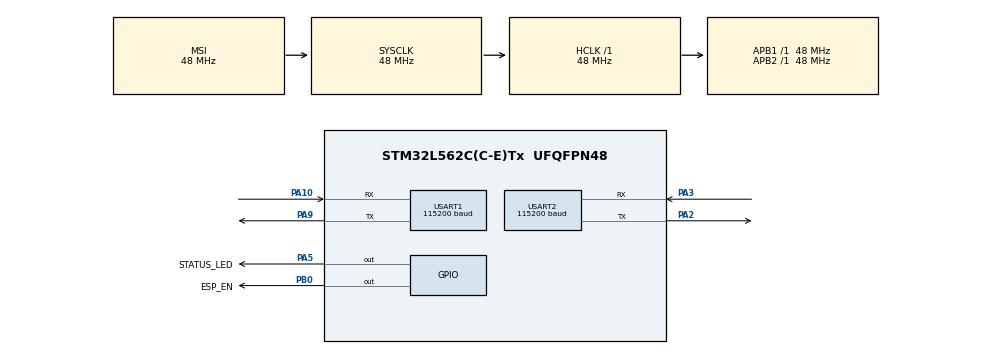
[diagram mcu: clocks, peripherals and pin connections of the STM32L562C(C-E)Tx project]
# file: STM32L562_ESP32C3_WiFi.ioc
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ICACHE.associativity_mode=ICACHE_1WAY
Mcu.Family=STM32L5
Mcu.Name=STM32L562C(C-E)Tx
Mcu.Package=UFQFPN48
Mcu.PinNb=10
NVIC.PriorityGroup=NVIC_PRIORITYGROUP_4
PA10.Mode=Asynchronous
PA10.Signal=USART1_RX
PA13\ (JTMS/SWDIO).Mode=Serial_Wire
PA13\ (JTMS/SWDIO).Signal=DEBUG_JTMS-SWDIO
PA14\ (JTCK/SWCLK).Mode=Serial_Wire
PA14\ (JTCK/SWCLK).Signal=DEBUG_JTCK-SWCLK
PA2.Mode=Asynchronous
PA2.Signal=USART2_TX
PA3.Mode=Asynchronous
PA3.Signal=USART2_RX
PA5.GPIO_Label=STATUS_LED
PA5.Signal=GPIO_Output
PA9.Mode=Asynchronous
PA9.Signal=USART1_TX
PB0.GPIO_Label=ESP_EN
PB0.PinState=GPIO_PIN_SET
PB0.Signal=GPIO_Output
ProjectManager.HeapSize=0x400
ProjectManager.StackSize=0x800
ProjectManager.TargetToolchain=STM32CubeIDE
RCC.ADCFreq_Value=16000000
RCC.AHBFreq_Value=48000000
RCC.APB1Freq_Value=48000000
RCC.APB1TimFreq_Value=48000000
RCC.APB2Freq_Value=48000000
RCC.APB2TimFreq_Value=48000000
RCC.CortexFreq_Value=48000000
RCC.HCLKFreq_Value=48000000
RCC.HSI_VALUE=16000000
RCC.MSIClockRange=RCC_MSIRANGE_11
RCC.MSI_VALUE=48000000
RCC.SYSCLKFreq_VALUE=48000000
RCC.SYSCLKSource=RCC_SYSCLKSOURCE_MSI
RCC.USART1CLockSelection=RCC_USART1CLKSOURCE_HSI
RCC.USART2CLockSelection=RCC_USART2CLKSOURCE_HSI
USART1.BaudRate=115200
USART1.FIFOMode=FIFOMODE_ENABLE
USART1.VirtualMode-Asynchronous=VM_ASYNC
USART2.BaudRate=115200
USART2.VirtualMode-Asynchronous=VM_ASYNC
VP_ICACHE_VS_ICACHE.Mode=DefaultMode
board=custom

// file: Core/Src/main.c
/* USER CODE BEGIN Header */
/**
  ******************************************************************************
  * @file           : main.c
  * @brief          : STM32L562CET6 + ESP32-C3-WROOM (ESP-AT) Wi-Fi 클라이언트
  *
  *  - USART1(PA9/PA10) 로 ESP32-C3 에 AT 명령을 보내고 응답을 폴링으로 받는다.
  *  - 부팅 시 ESP32 를 하드웨어 리셋 → 초기화 → MAC 주소 읽기 → AP 접속
  *    (DHCP 또는 고정 IP) → TCP 서버 접속 순서로 진행한다.
  *  - AP 또는 서버가 끊기면 wifi_mgr.c 의 상태 머신이 자동으로 재접속한다.
  *  - 접속 중에는 APP_TX_PERIOD_MS 마다 서버에 문자열을 보내고, 서버에서
  *    받은 데이터는 USART2 디버그 포트로 찍는다.
  *
  *  인터럽트는 SysTick(HAL 1ms 틱) 만 사용한다.
  ******************************************************************************
  */
/* USER CODE END Header */

#include "main.h"

/* USER CODE BEGIN Includes */
#include "debug_log.h"
#include "esp32_at.h"
#include "wifi_mgr.h"
#include <stdio.h>
#include <string.h>
/* USER CODE END Includes */

void SystemClock_Config(void);
static void MX_GPIO_Init(void);
static void MX_ICACHE_Init(void);
static void MX_USART1_UART_Init(void);
static void MX_USART2_UART_Init(void);

/* USER CODE BEGIN PFP */
static void App_Task(void);
static void Led_Task(void);
/* USER CODE END PFP */

/* USER CODE BEGIN 0 */

/**
  * @brief  데모 애플리케이션: 주기 송신 + 수신 데이터 출력
  */
static void App_Task(void)
{
#if (APP_TX_PERIOD_MS > 0U)
  static uint32_t last_tx   = 0U;
  static uint32_t tx_count  = 0U;
#endif
  uint8_t  rx[128];
  uint16_t n;

  /* 서버에서 온 데이터 → 디버그 포트로 출력 */
  n = WIFI_Receive(rx, (uint16_t)(sizeof(rx) - 1U));
  if (n > 0U)
  {
    rx[n] = '\0';
    LOG("APP: rx %u bytes: %s", (unsigned)n, (const char *)rx);
  }

#if (APP_TX_PERIOD_MS > 0U)
  if (WIFI_IsOnline() && ((HAL_GetTick() - last_tx) >= APP_TX_PERIOD_MS))
  {
    char msg[96];
    int  len;

    last_tx = HAL_GetTick();
    len = snprintf(msg, sizeof(msg), "STM32L562 #%lu mac=%s ip=%s\r\n",
                   (unsigned long)++tx_count, WIFI_GetMac(), WIFI_GetIp());
    if (len > 0)
    {
      if (WIFI_Send((const uint8_t *)msg, (uint16_t)len))
      {
        LOG("APP: tx #%lu ok", (unsigned long)tx_count);
      }
      else
      {
        LOG("APP: tx #%lu failed", (unsigned long)tx_count);
      }
    }
  }
#endif
}

/**
  * @brief  상태 LED
  *           RESET / INIT      : 빠르게 (100ms)
  *           AP / SERVER 접속중: 중간   (250ms)
  *           WAIT (재시도 대기) : 느리게 (1s)
  *           ONLINE            : 켜짐 (2초마다 짧게 깜빡)
  */
static void Led_Task(void)
{
  static uint32_t last = 0U;
  static bool     on   = false;
  uint32_t        now  = HAL_GetTick();
  uint32_t        period;

  switch (WIFI_GetState())
  {
    case WIFI_STATE_RESET:
    case WIFI_STATE_INIT:           period = 100U;  break;
    case WIFI_STATE_AP_CONNECT:
    case WIFI_STATE_SERVER_CONNECT: period = 250U;  break;
    case WIFI_STATE_WAIT:           period = 1000U; break;
    case WIFI_STATE_ONLINE:
    default:
      /* 켜져 있다가 2초마다 50ms 꺼짐 */
      period = on ? 2000U : 50U;
      break;
  }

  if ((now - last) >= period)
  {
    last = now;
    on   = !on;
#if (STATUS_LED_ACTIVE_HIGH == 1U)
    HAL_GPIO_WritePin(STATUS_LED_GPIO_PORT, STATUS_LED_PIN, on ? GPIO_PIN_SET : GPIO_PIN_RESET);
#else
    HAL_GPIO_WritePin(STATUS_LED_GPIO_PORT, STATUS_LED_PIN, on ? GPIO_PIN_RESET : GPIO_PIN_SET);
#endif
  }
}
/* USER CODE END 0 */

int main(void)
{

  /* MCU Configuration--------------------------------------------------------*/

  /* Reset of all peripherals, Initializes the Flash interface and the Systick. */
  HAL_Init();

  /* Configure the system clock */
  SystemClock_Config();

  /* Initialize all configured peripherals */
  MX_GPIO_Init();
  MX_ICACHE_Init();
  MX_USART2_UART_Init();
  MX_USART1_UART_Init();

  /* USER CODE BEGIN 2 */
  LOG("");
  LOG("=== STM32L562CET6 + ESP32-C3 AT Wi-Fi client ===");
  LOG("SYSCLK=%lu Hz", (unsigned long)HAL_RCC_GetSysClockFreq());

  /* 기본 설정(wifi_config.h)으로 시작. 실행 중 바꾸려면 WIFI_Config_t 를
     채워서 WIFI_Init(&cfg) 또는 WIFI_Reconfigure(&cfg) 를 부르면 된다. */
  WIFI_Init(NULL);
  /* USER CODE END 2 */

  /* Infinite loop */
  /* USER CODE BEGIN WHILE */
  while (1)
  {
    WIFI_Process();     /* ESP32 폴링 + 접속/재접속 상태 머신 */
    App_Task();         /* 데이터 송수신 데모                  */
    Led_Task();

    /* USER CODE END WHILE */

  }
}

void SystemClock_Config(void)
{
  RCC_OscInitTypeDef RCC_OscInitStruct = {0};
  RCC_ClkInitTypeDef RCC_ClkInitStruct = {0};
  RCC_PeriphCLKInitTypeDef PeriphClkInit = {0};

  /** Configure the main internal regulator output voltage
  */
  if (HAL_PWREx_ControlVoltageScaling(PWR_REGULATOR_VOLTAGE_SCALE1) != HAL_OK)
  {
    Error_Handler();
  }

  /** Initializes the RCC Oscillators according to the specified parameters
  * in the RCC_OscInitTypeDef structure.
  */
  RCC_OscInitStruct.OscillatorType      = RCC_OSCILLATORTYPE_MSI | RCC_OSCILLATORTYPE_HSI;
  RCC_OscInitStruct.MSIState            = RCC_MSI_ON;
  RCC_OscInitStruct.MSICalibrationValue = RCC_MSICALIBRATION_DEFAULT;
  RCC_OscInitStruct.MSIClockRange       = RCC_MSIRANGE_11;      /* 48 MHz */
  RCC_OscInitStruct.HSIState            = RCC_HSI_ON;           /* USART 용 16 MHz */
  RCC_OscInitStruct.HSICalibrationValue = RCC_HSICALIBRATION_DEFAULT;
  RCC_OscInitStruct.PLL.PLLState        = RCC_PLL_NONE;
  if (HAL_RCC_OscConfig(&RCC_OscInitStruct) != HAL_OK)
  {
    Error_Handler();
  }

  /** Initializes the CPU, AHB and APB buses clocks
  */
  RCC_ClkInitStruct.ClockType      = RCC_CLOCKTYPE_HCLK | RCC_CLOCKTYPE_SYSCLK |
                                     RCC_CLOCKTYPE_PCLK1 | RCC_CLOCKTYPE_PCLK2;
  RCC_ClkInitStruct.SYSCLKSource   = RCC_SYSCLKSOURCE_MSI;
  RCC_ClkInitStruct.AHBCLKDivider  = RCC_SYSCLK_DIV1;
  RCC_ClkInitStruct.APB1CLKDivider = RCC_HCLK_DIV1;
  RCC_ClkInitStruct.APB2CLKDivider = RCC_HCLK_DIV1;
  if (HAL_RCC_ClockConfig(&RCC_ClkInitStruct, FLASH_LATENCY_2) != HAL_OK)
  {
    Error_Handler();
  }

  /** USART1 / USART2 커널 클럭 = HSI16 */
  PeriphClkInit.PeriphClockSelection = RCC_PERIPHCLK_USART1 | RCC_PERIPHCLK_USART2;
  PeriphClkInit.Usart1ClockSelection = RCC_USART1CLKSOURCE_HSI;
  PeriphClkInit.Usart2ClockSelection = RCC_USART2CLKSOURCE_HSI;
  if (HAL_RCCEx_PeriphCLKConfig(&PeriphClkInit) != HAL_OK)
  {
    Error_Handler();
  }
}

static void MX_ICACHE_Init(void)
{

  if (HAL_ICACHE_ConfigAssociativityMode(ICACHE_1WAY) != HAL_OK)
  {
    Error_Handler();
  }
  if (HAL_ICACHE_Enable() != HAL_OK)
  {
    Error_Handler();
  }

}

static void MX_USART1_UART_Init(void)
{
  /* USER CODE BEGIN USART1_Init 0 */
  /* 실제 초기화는 esp32_at.c 의 ESP_Init() 안에서 한다 (WIFI_Init 에서 호출).
     CubeMX 재생성 시 이 함수 본문이 채워지더라도 ESP_Init() 이 같은 설정으로
     다시 초기화하므로 문제 없다. */
  /* USER CODE END USART1_Init 0 */
}

static void MX_USART2_UART_Init(void)
{
  /* USER CODE BEGIN USART2_Init 0 */
  DBG_Init();
  /* USER CODE END USART2_Init 0 */
}

static void MX_GPIO_Init(void)
{
  GPIO_InitTypeDef GPIO_InitStruct = {0};

  /* GPIO Ports Clock Enable */
  __HAL_RCC_GPIOA_CLK_ENABLE();
  __HAL_RCC_GPIOB_CLK_ENABLE();

  /* LED off */
#if (STATUS_LED_ACTIVE_HIGH == 1U)
  HAL_GPIO_WritePin(STATUS_LED_GPIO_PORT, STATUS_LED_PIN, GPIO_PIN_RESET);
#else
  HAL_GPIO_WritePin(STATUS_LED_GPIO_PORT, STATUS_LED_PIN, GPIO_PIN_SET);
#endif
  /* ESP32 EN = H (동작). 리셋은 ESP_HardReset() 이 담당 */
  HAL_GPIO_WritePin(ESP_EN_GPIO_PORT, ESP_EN_PIN, GPIO_PIN_SET);

  GPIO_InitStruct.Pin   = STATUS_LED_PIN;
  GPIO_InitStruct.Mode  = GPIO_MODE_OUTPUT_PP;
  GPIO_InitStruct.Pull  = GPIO_NOPULL;
  GPIO_InitStruct.Speed = GPIO_SPEED_FREQ_LOW;
  HAL_GPIO_Init(STATUS_LED_GPIO_PORT, &GPIO_InitStruct);

  GPIO_InitStruct.Pin   = ESP_EN_PIN;
  GPIO_InitStruct.Mode  = GPIO_MODE_OUTPUT_PP;
  GPIO_InitStruct.Pull  = GPIO_NOPULL;
  GPIO_InitStruct.Speed = GPIO_SPEED_FREQ_LOW;
  HAL_GPIO_Init(ESP_EN_GPIO_PORT, &GPIO_InitStruct);
}

void Error_Handler(void)
{
  __disable_irq();
  while (1)
  {
  }
}
